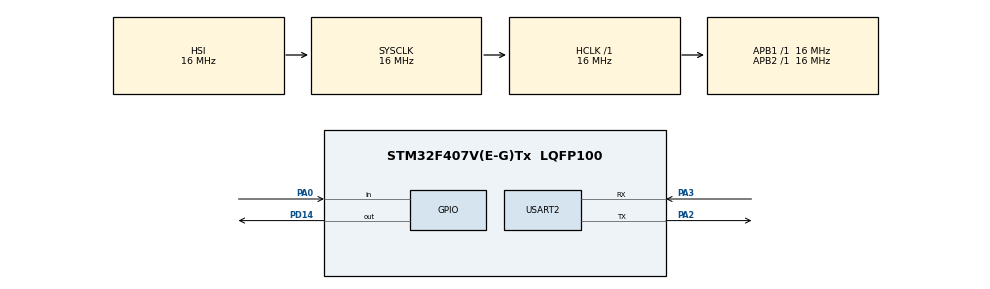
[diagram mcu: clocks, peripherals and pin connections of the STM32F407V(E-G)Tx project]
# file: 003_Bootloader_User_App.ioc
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Mcu.Family=STM32F4
Mcu.Name=STM32F407V(E-G)Tx
Mcu.Package=LQFP100
NVIC.PriorityGroup=NVIC_PRIORITYGROUP_4
PA0-WKUP.Signal=GPIO_Input
PA13.Mode=Serial_Wire
PA13.Signal=SYS_JTMS-SWDIO
PA14.Mode=Serial_Wire
PA14.Signal=SYS_JTCK-SWCLK
PA2.Mode=Asynchronous
PA2.Signal=USART2_TX
PA3.Mode=Asynchronous
PA3.Signal=USART2_RX
PD14.Signal=GPIO_Output
PH0-OSC_IN.Mode=HSE-External-Oscillator
PH0-OSC_IN.Signal=RCC_OSC_IN
PH1-OSC_OUT.Mode=HSE-External-Oscillator
PH1-OSC_OUT.Signal=RCC_OSC_OUT
ProjectManager.HeapSize=0x200
ProjectManager.StackSize=0x400
ProjectManager.TargetToolchain=STM32CubeIDE
RCC.AHBFreq_Value=16000000
RCC.APB1Freq_Value=16000000
RCC.APB2Freq_Value=16000000
RCC.CortexFreq_Value=16000000
RCC.HSE_VALUE=25000000
RCC.HSI_VALUE=16000000
RCC.LSE_VALUE=32768
RCC.SYSCLKFreq_VALUE=16000000
RCC.VCOOutputFreq_Value=192000000
USART2.VirtualMode=VM_ASYNC
board=custom

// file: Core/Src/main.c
/* USER CODE BEGIN Header */
/**
  ******************************************************************************
  * @file           : main.c
  * @brief          : Main program body
  ******************************************************************************
  * @attention
  *
  * Copyright (c) 2024 STMicroelectronics.
  * All rights reserved.
  *
  * This software is licensed under terms that can be found in the LICENSE file
  * in the root directory of this software component.
  * If no LICENSE file comes with this software, it is provided AS-IS.
  *
  ******************************************************************************
  */
/* USER CODE END Header */
#include "main.h"

/* USER CODE BEGIN Includes */

#include "stdarg.h"
#include "stdio.h"
#include "string.h"
/* Private includes ----------------------------------------------------------*/
/* USER CODE BEGIN Includes */

/* USER CODE END Includes */

/* USER CODE BEGIN PTD */
void printMessage(char *format, ...);
/* USER CODE END PTD */

UART_HandleTypeDef huart2;

void SystemClock_Config(void);
static void MX_GPIO_Init(void);
static void MX_USART2_UART_Init(void);

int main(void)
{

  /* MCU Configuration--------------------------------------------------------*/

  /* Reset of all peripherals, Initializes the Flash interface and the Systick. */
  HAL_Init();

  /* Configure the system clock */
  SystemClock_Config();

  /* Initialize all configured peripherals */
  MX_GPIO_Init();
  MX_USART2_UART_Init();

  /* Infinite loop */
  while (1)
  {

    /* USER CODE BEGIN 3 */
	  printMessage("Hello From SD Card App\n");
	  HAL_Delay(1000);
	  printMessage("Hello From SD Card Reset\n");
	  HAL_Delay(1000);

  }
  /* USER CODE END 3 */
}

void SystemClock_Config(void)
{
  RCC_OscInitTypeDef RCC_OscInitStruct = {0};
  RCC_ClkInitTypeDef RCC_ClkInitStruct = {0};

  /** Configure the main internal regulator output voltage
  */
  __HAL_RCC_PWR_CLK_ENABLE();
  __HAL_PWR_VOLTAGESCALING_CONFIG(PWR_REGULATOR_VOLTAGE_SCALE1);

  /** Initializes the RCC Oscillators according to the specified parameters
  * in the RCC_OscInitTypeDef structure.
  */
  RCC_OscInitStruct.OscillatorType = RCC_OSCILLATORTYPE_HSI;
  RCC_OscInitStruct.HSIState = RCC_HSI_ON;
  RCC_OscInitStruct.HSICalibrationValue = RCC_HSICALIBRATION_DEFAULT;
  RCC_OscInitStruct.PLL.PLLState = RCC_PLL_NONE;
  if (HAL_RCC_OscConfig(&RCC_OscInitStruct) != HAL_OK)
  {
    Error_Handler();
  }

  /** Initializes the CPU, AHB and APB buses clocks
  */
  RCC_ClkInitStruct.ClockType = RCC_CLOCKTYPE_HCLK|RCC_CLOCKTYPE_SYSCLK
                              |RCC_CLOCKTYPE_PCLK1|RCC_CLOCKTYPE_PCLK2;
  RCC_ClkInitStruct.SYSCLKSource = RCC_SYSCLKSOURCE_HSI;
  RCC_ClkInitStruct.AHBCLKDivider = RCC_SYSCLK_DIV1;
  RCC_ClkInitStruct.APB1CLKDivider = RCC_HCLK_DIV1;
  RCC_ClkInitStruct.APB2CLKDivider = RCC_HCLK_DIV1;

  if (HAL_RCC_ClockConfig(&RCC_ClkInitStruct, FLASH_LATENCY_0) != HAL_OK)
  {
    Error_Handler();
  }
}

static void MX_USART2_UART_Init(void)
{

  huart2.Instance = USART2;
  huart2.Init.BaudRate = 115200;
  huart2.Init.WordLength = UART_WORDLENGTH_8B;
  huart2.Init.StopBits = UART_STOPBITS_1;
  huart2.Init.Parity = UART_PARITY_NONE;
  huart2.Init.Mode = UART_MODE_TX_RX;
  huart2.Init.HwFlowCtl = UART_HWCONTROL_NONE;
  huart2.Init.OverSampling = UART_OVERSAMPLING_16;
  if (HAL_UART_Init(&huart2) != HAL_OK)
  {
    Error_Handler();
  }

}

static void MX_GPIO_Init(void)
{
  GPIO_InitTypeDef GPIO_InitStruct = {0};

  /* GPIO Ports Clock Enable */
  __HAL_RCC_GPIOH_CLK_ENABLE();
  __HAL_RCC_GPIOA_CLK_ENABLE();
  __HAL_RCC_GPIOD_CLK_ENABLE();

  /*Configure GPIO pin Output Level */
  HAL_GPIO_WritePin(GPIOD, GPIO_PIN_14, GPIO_PIN_RESET);

  /*Configure GPIO pin : PA0 */
  GPIO_InitStruct.Pin = GPIO_PIN_0;
  GPIO_InitStruct.Mode = GPIO_MODE_INPUT;
  GPIO_InitStruct.Pull = GPIO_NOPULL;
  HAL_GPIO_Init(GPIOA, &GPIO_InitStruct);

  /*Configure GPIO pin : PD14 */
  GPIO_InitStruct.Pin = GPIO_PIN_14;
  GPIO_InitStruct.Mode = GPIO_MODE_OUTPUT_PP;
  GPIO_InitStruct.Pull = GPIO_NOPULL;
  GPIO_InitStruct.Speed = GPIO_SPEED_FREQ_LOW;
  HAL_GPIO_Init(GPIOD, &GPIO_InitStruct);

}

/* USER CODE BEGIN 4 */
void printMessage(char *format, ...)
{
	char comingMessage[100];

	va_list vaList;
	va_start(vaList, format);
	vsprintf(comingMessage, format, vaList);
	HAL_UART_Transmit(&huart2, (uint8_t*)comingMessage, strlen(comingMessage), HAL_MAX_DELAY);
	va_end(vaList);
}

/* USER CODE END 4 */

void Error_Handler(void)
{
  __disable_irq();
  while (1)
  {
  }
}
